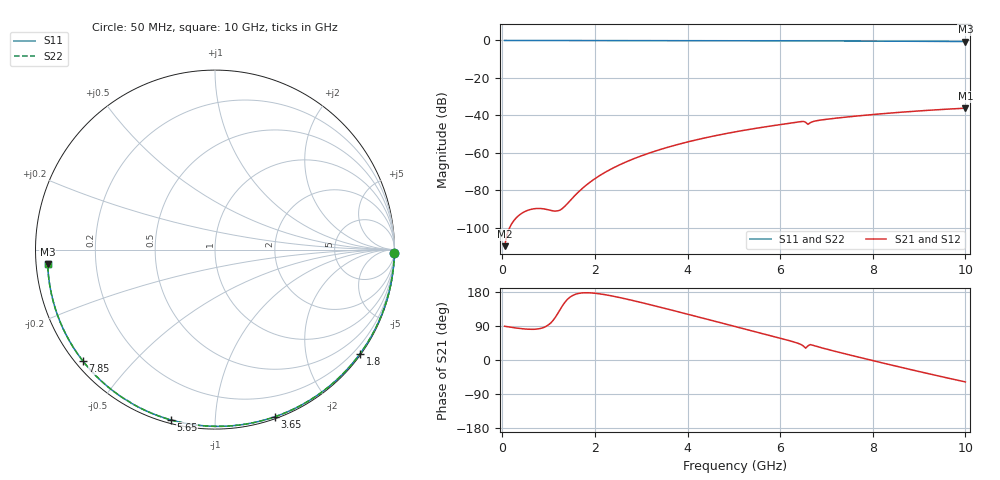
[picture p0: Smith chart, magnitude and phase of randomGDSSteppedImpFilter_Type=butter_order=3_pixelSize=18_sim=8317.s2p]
! freq	dB(S11)	phase(S11)	dB(S12)	phase(S12)
!  dB(S21)	phase(S21)	dB(S22)	phase(S22)
!S-par simulation data
#  GHz  S  DB  R 50
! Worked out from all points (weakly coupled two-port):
!   200 points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, 50 MHz to 10 GHz, reference 50 ohm
!   highest |S21| = -36.13 dB at 10 GHz (marker M1); lowest = -109.8 dB at 50 MHz (marker M2)
!   lowest |S11| = -0.6 dB at 10 GHz (marker M3), VSWR 30.08, Z = 1.67 - j2.18 ohm
!   |S11| at or under -10 dB: nowhere
!   |S22| runs from -0.6 to 0.0 dB; largest |S21 - S12| = 0
!   S11 on the Smith chart (normalised r, x): 50 MHz: open; 1.8 GHz: 0.03, -3.10; 3.65 GHz: 0.02, -1.42; 5.65 GHz: 0.02, -0.77; 7.85 GHz: 0.02, -0.37; 10 GHz: 0.03, -0.04
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0.05  -0.00 -1.0  -109.76 89.0  -109.76 89.0  -0.00 -1.0
0.85  -0.02 -17.1  -89.72 84.0  -89.72 84.0  -0.02 -17.1
1.65  -0.04 -32.8  -80.72 175.7  -80.72 175.7  -0.04 -32.8
1.75  -0.04 -34.8  -78.49 177.3  -78.49 177.3  -0.04 -34.7
1.8  -0.05 -35.7  -77.45 177.5  -77.45 177.5  -0.05 -35.7
2.1  -0.05 -41.5  -72.14 174.6  -72.14 174.6  -0.05 -41.5
2.45  -0.06 -48.2  -67.35 167.0  -67.35 167.0  -0.06 -48.1
2.9  -0.07 -56.6  -62.52 154.6  -62.52 154.6  -0.07 -56.6
3.4  -0.09 -65.7  -58.26 139.6  -58.26 139.6  -0.09 -65.7
3.65  -0.09 -70.3  -56.44 131.9  -56.44 131.9  -0.09 -70.2
4.35  -0.12 -82.6  -52.13 109.9  -52.13 109.9  -0.12 -82.6
5.05  -0.15 -94.6  -48.68 87.7  -48.68 87.7  -0.15 -94.5
5.65  -0.17 -104.5  -46.20 68.8  -46.20 68.8  -0.17 -104.5
6.5  -0.22 -118.4  -43.19 37.1  -43.19 37.1  -0.22 -118.3
6.55  -0.23 -119.2  -43.64 31.4  -43.64 31.4  -0.23 -119.2
6.6  -0.24 -119.9  -44.78 37.2  -44.78 37.2  -0.24 -119.9
6.7  -0.24 -121.5  -43.36 39.1  -43.36 39.1  -0.24 -121.5
7  -0.26 -126.3  -42.06 28.8  -42.06 28.8  -0.26 -126.3
7.85  -0.33 -139.8  -39.86 2.9  -39.86 2.9  -0.33 -139.8
8.35  -0.38 -147.8  -38.79 -11.8  -38.79 -11.8  -0.38 -147.7
9.2  -0.47 -161.6  -37.27 -36.1  -37.27 -36.1  -0.47 -161.5
10  -0.58 -175.0  -36.13 -57.8  -36.13 -57.8  -0.58 -174.9
